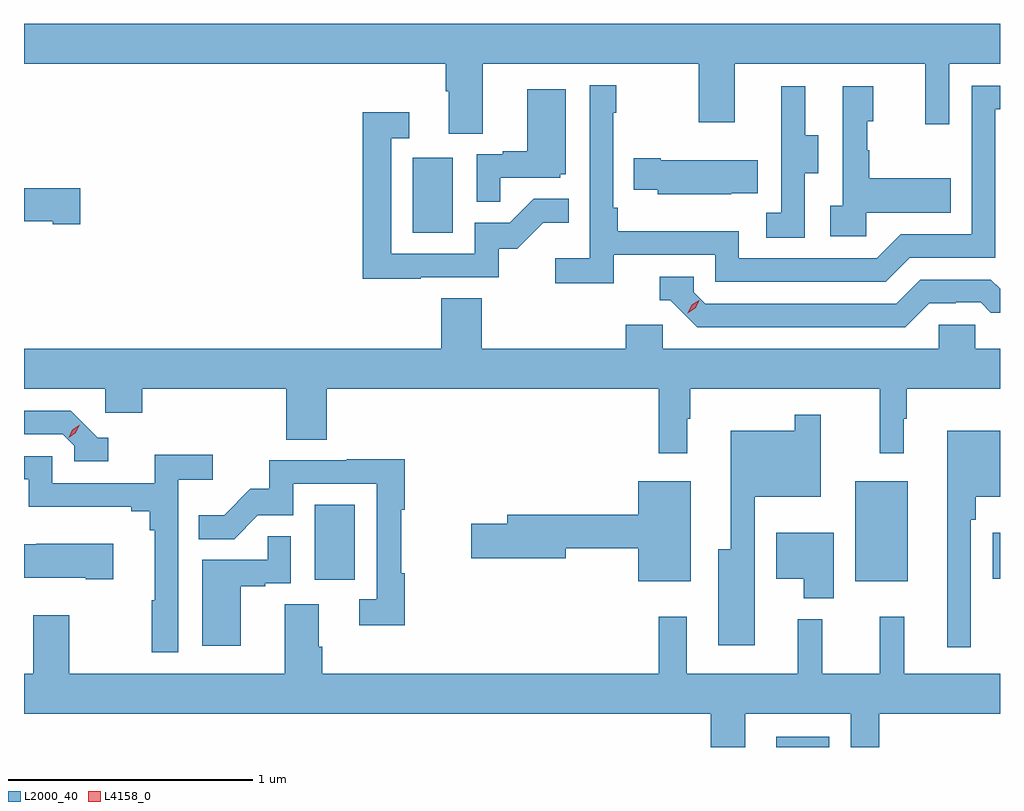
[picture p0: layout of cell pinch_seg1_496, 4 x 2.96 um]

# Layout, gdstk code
import gdstk
lib = gdstk.Library(unit=1e-6, precision=1e-09)
def R(c, l, rs):  # rectangles x0, y0, x1, y1
    for r in rs: c.add(gdstk.rectangle(r[:2], r[2:], *l))
def P(c, l, *ps):  # polygons
    for p in ps: c.add(gdstk.Polygon(p, *l))
L2000_40 = (2000, 40)
L4158_0 = (4158, 0)

pinch_seg1_496 = lib.new_cell('pinch_seg1_496')
R(pinch_seg1_496, L2000_40, [(1130.733,536.944,1130.95,536.986), (1131.056,537.623,1131.271,538.033), (1128.842,537.63,1129.006,537.937), (1131.62,537.635,1131.65,537.823), (1129.244,539.052,1129.408,539.359)])
P(pinch_seg1_496, L2000_40, [(1129.531,539.744),(1130.416,539.744),(1130.416,539.505),(1130.563,539.505),(1130.563,539.744),(1131.344,539.744),(1131.344,539.496),(1131.441,539.496),(1131.441,539.744),(1131.65,539.744),(1131.65,539.908),(1127.65,539.908),(1127.65,539.744),(1129.379,539.744),(1129.379,539.632),(1129.391,539.632),(1129.391,539.458),(1129.531,539.458)],
  [(1130.066,538.962),(1130.484,538.962),(1130.484,538.851),(1131.181,538.851),(1131.28,538.95),(1131.63,538.95),(1131.63,539.559),(1131.65,539.559),(1131.65,539.655),(1131.534,539.655),(1131.534,539.046),(1131.243,539.046),(1131.144,538.947),(1130.58,538.947),(1130.58,539.059),(1130.084,539.059),(1130.084,539.155),(1130.064,539.155),(1130.064,539.543),(1130.077,539.543),(1130.077,539.656),(1129.968,539.656),(1129.968,538.948),(1129.827,538.948),(1129.827,538.846),(1130.066,538.846)],
  [(1130.85,539.296),(1130.905,539.296),(1130.905,539.451),(1130.851,539.451),(1130.851,539.653),(1130.753,539.653),(1130.753,539.439),(1130.754,539.439),(1130.754,539.135),(1130.691,539.135),(1130.691,539.032),(1130.85,539.032)],
  [(1131.102,539.135),(1131.449,539.135),(1131.449,539.275),(1131.115,539.275),(1131.115,539.39),(1131.105,539.39),(1131.105,539.508),(1131.13,539.508),(1131.13,539.653),(1131.006,539.653),(1131.006,539.162),(1130.955,539.162),(1130.955,539.037),(1131.102,539.037)],
  [(1129.601,539.277),(1129.848,539.277),(1129.848,539.292),(1129.87,539.292),(1129.87,539.641),(1129.712,539.641),(1129.712,539.386),(1129.613,539.386),(1129.613,539.373),(1129.506,539.373),(1129.506,539.179),(1129.601,539.179)],
  [(1129.277,538.869),(1129.596,538.869),(1129.596,538.986),(1129.672,538.986),(1129.779,539.093),(1129.883,539.093),(1129.883,539.192),(1129.739,539.192),(1129.641,539.094),(1129.497,539.094),(1129.497,538.965),(1129.155,538.965),(1129.155,539.439),(1129.228,539.439),(1129.228,539.545),(1129.039,539.545),(1129.039,538.864),(1129.277,538.864)],
  [(1130.549,539.213),(1130.657,539.213),(1130.657,539.35),(1130.26,539.35),(1130.26,539.358),(1130.149,539.358),(1130.149,539.228),(1130.247,539.228),(1130.247,539.21),(1130.549,539.21)],
  [(1127.881,539.234),(1127.65,539.234),(1127.65,539.099),(1127.768,539.099),(1127.768,539.087),(1127.881,539.087)],
  [(1131.361,538.764),(1131.468,538.764),(1131.468,538.767),(1131.571,538.767),(1131.613,538.725),(1131.65,538.725),(1131.65,538.823),(1131.613,538.86),(1131.324,538.86),(1131.225,538.761),(1130.442,538.761),(1130.394,538.809),(1130.394,538.872),(1130.255,538.872),(1130.255,538.776),(1130.298,538.776),(1130.409,538.665),(1131.262,538.665)],
  [(1130.368,538.289),(1130.38,538.289),(1130.38,538.412),(1131.157,538.412),(1131.157,538.149),(1131.256,538.149),(1131.256,538.289),(1131.268,538.289),(1131.268,538.412),(1131.65,538.412),(1131.65,538.576),(1131.549,538.576),(1131.549,538.674),(1131.399,538.674),(1131.399,538.576),(1130.268,538.576),(1130.268,538.674),(1130.117,538.674),(1130.117,538.576),(1129.526,538.576),(1129.526,538.784),(1129.361,538.784),(1129.361,538.576),(1127.65,538.576),(1127.65,538.412),(1127.982,538.412),(1127.982,538.314),(1128.134,538.314),(1128.134,538.412),(1128.725,538.412),(1128.725,538.204),(1128.89,538.204),(1128.89,538.412),(1130.251,538.412),(1130.251,538.149),(1130.368,538.149)],
  [(1127.995,538.212),(1127.952,538.212),(1127.841,538.323),(1127.65,538.323),(1127.65,538.227),(1127.808,538.227),(1127.856,538.179),(1127.856,538.116),(1127.995,538.116)],
  [(1130.644,537.971),(1130.916,537.971),(1130.916,538.306),(1130.808,538.306),(1130.808,538.24),(1130.546,538.24),(1130.546,537.754),(1130.495,537.754),(1130.495,537.362),(1130.644,537.362)],
  [(1131.531,537.875),(1131.551,537.875),(1131.551,537.971),(1131.65,537.971),(1131.65,538.24),(1131.434,538.24),(1131.434,537.354),(1131.531,537.354)],
  [(1128.282,538.04),(1128.424,538.04),(1128.424,538.142),(1128.185,538.142),(1128.185,538.026),(1127.766,538.026),(1127.766,538.137),(1127.65,538.137),(1127.65,538.041),(1127.67,538.041),(1127.67,537.929),(1128.089,537.929),(1128.089,537.91),(1128.166,537.91),(1128.166,537.833),(1128.185,537.833),(1128.185,537.545),(1128.174,537.545),(1128.174,537.333),(1128.282,537.333)],
  [(1129.211,537.656),(1129.196,537.656),(1129.196,537.916),(1129.211,537.916),(1129.211,538.124),(1128.973,538.124),(1128.973,538.119),(1128.655,538.119),(1128.655,538.002),(1128.578,538.002),(1128.471,537.895),(1128.367,537.895),(1128.367,537.796),(1128.511,537.796),(1128.609,537.894),(1128.753,537.894),(1128.753,538.023),(1129.095,538.023),(1129.095,537.549),(1129.023,537.549),(1129.023,537.444),(1129.211,537.444)],
  [(1130.383,538.033),(1130.168,538.033),(1130.168,537.896),(1129.631,537.896),(1129.631,537.86),(1129.482,537.86),(1129.482,537.718),(1129.87,537.718),(1129.87,537.76),(1130.168,537.76),(1130.168,537.623),(1130.383,537.623)],
  [(1130.968,537.823),(1130.732,537.823),(1130.732,537.635),(1130.846,537.635),(1130.846,537.554),(1130.968,537.554)],
  [(1128.538,537.603),(1128.638,537.603),(1128.638,537.615),(1128.744,537.615),(1128.744,537.809),(1128.649,537.809),(1128.649,537.711),(1128.38,537.711),(1128.38,537.36),(1128.538,537.36)],
  [(1128.016,537.778),(1127.701,537.778),(1127.701,537.775),(1127.65,537.775),(1127.65,537.638),(1127.903,537.638),(1127.903,537.631),(1128.016,537.631)],
  [(1130.605,537.08),(1131.039,537.08),(1131.039,536.944),(1131.155,536.944),(1131.155,537.08),(1131.65,537.08),(1131.65,537.244),(1131.257,537.244),(1131.257,537.478),(1131.157,537.478),(1131.157,537.244),(1130.922,537.244),(1130.922,537.469),(1130.822,537.469),(1130.822,537.244),(1130.367,537.244),(1130.367,537.478),(1130.251,537.478),(1130.251,537.244),(1128.872,537.244),(1128.872,537.356),(1128.859,537.356),(1128.859,537.53),(1128.719,537.53),(1128.719,537.244),(1127.835,537.244),(1127.835,537.484),(1127.687,537.484),(1127.687,537.244),(1127.65,537.244),(1127.65,537.08),(1130.465,537.08),(1130.465,536.944),(1130.605,536.944)])
P(pinch_seg1_496, L4158_0, [(1127.833,538.212),(1127.833,538.212),(1127.848,538.245),(1127.879,538.265),(1127.879,538.265),(1127.879,538.265),(1127.863,538.232),(1127.833,538.212)],
  [(1130.37,538.723),(1130.37,538.724),(1130.387,538.756),(1130.418,538.775),(1130.418,538.775),(1130.418,538.774),(1130.401,538.742),(1130.37,538.723)])

lib.write_gds('pinch_seg1_496.gds')
